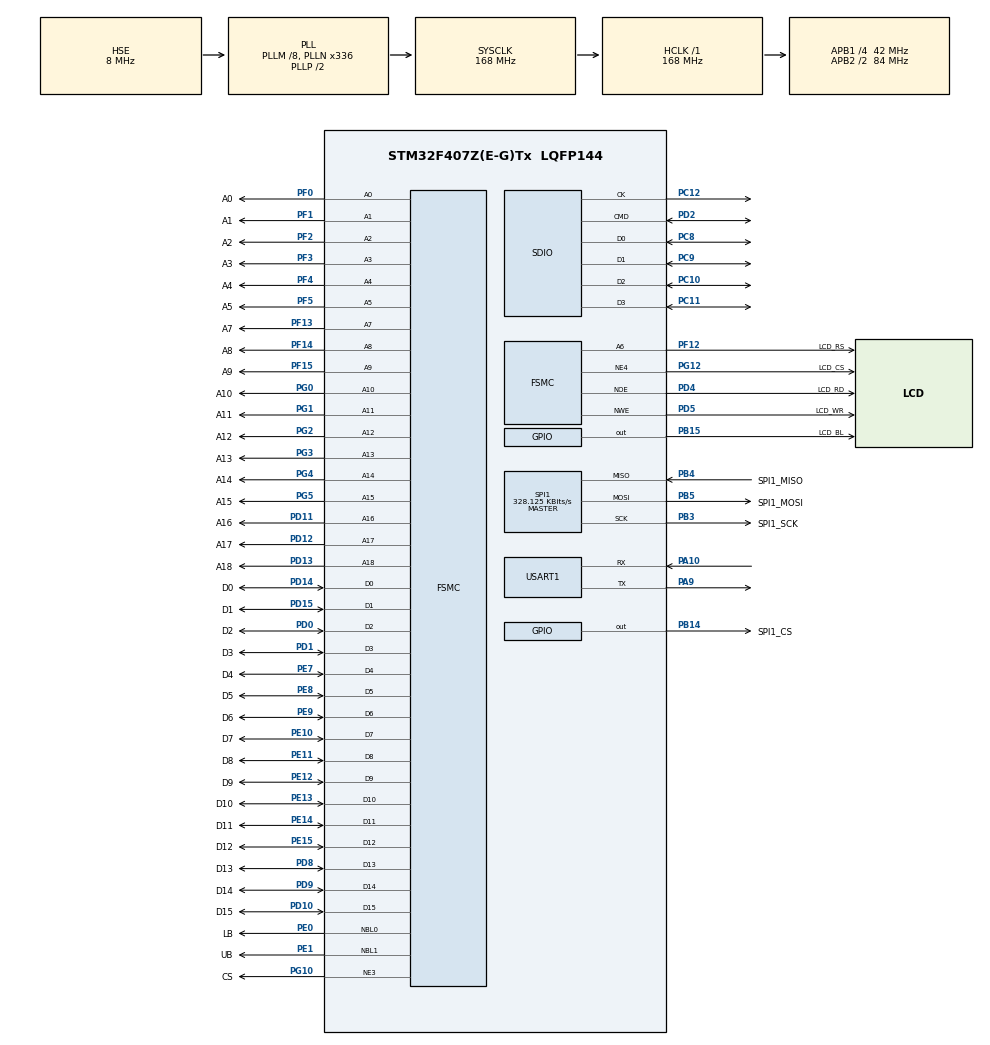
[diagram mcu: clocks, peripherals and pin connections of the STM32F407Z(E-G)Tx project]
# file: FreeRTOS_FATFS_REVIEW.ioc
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Dma.Request0=SDIO_RX
Dma.Request1=SDIO_TX
Dma.SDIO_RX.0.Direction=DMA_PERIPH_TO_MEMORY
Dma.SDIO_RX.0.FIFOMode=DMA_FIFOMODE_ENABLE
Dma.SDIO_RX.0.FIFOThreshold=DMA_FIFO_THRESHOLD_FULL
Dma.SDIO_RX.0.Instance=DMA2_Stream3
Dma.SDIO_RX.0.MemBurst=DMA_MBURST_INC4
Dma.SDIO_RX.0.MemDataAlignment=DMA_MDATAALIGN_WORD
Dma.SDIO_RX.0.MemInc=DMA_MINC_ENABLE
Dma.SDIO_RX.0.Mode=DMA_PFCTRL
Dma.SDIO_RX.0.PeriphBurst=DMA_PBURST_INC4
Dma.SDIO_RX.0.PeriphDataAlignment=DMA_PDATAALIGN_WORD
Dma.SDIO_RX.0.PeriphInc=DMA_PINC_DISABLE
Dma.SDIO_RX.0.Priority=DMA_PRIORITY_LOW
Dma.SDIO_TX.1.Direction=DMA_MEMORY_TO_PERIPH
Dma.SDIO_TX.1.FIFOMode=DMA_FIFOMODE_ENABLE
Dma.SDIO_TX.1.FIFOThreshold=DMA_FIFO_THRESHOLD_FULL
Dma.SDIO_TX.1.Instance=DMA2_Stream6
Dma.SDIO_TX.1.MemBurst=DMA_MBURST_SINGLE
Dma.SDIO_TX.1.MemDataAlignment=DMA_MDATAALIGN_BYTE
Dma.SDIO_TX.1.MemInc=DMA_MINC_ENABLE
Dma.SDIO_TX.1.Mode=DMA_PFCTRL
Dma.SDIO_TX.1.PeriphBurst=DMA_PBURST_INC4
Dma.SDIO_TX.1.PeriphDataAlignment=DMA_PDATAALIGN_WORD
Dma.SDIO_TX.1.PeriphInc=DMA_PINC_DISABLE
Dma.SDIO_TX.1.Priority=DMA_PRIORITY_LOW
FATFS._CODE_PAGE=936
FATFS._FS_EXFAT=1
FATFS._FS_NORTC=0
FATFS._USE_FORWARD=0
FATFS._USE_LABEL=1
FATFS._USE_LFN=3
FATFS._VOLUMES=2
FREERTOS.HEAP_NUMBER=5
FREERTOS.MEMORY_ALLOCATION=0
FREERTOS.Tasks01=defaultTask,0,1024,StartDefaultTask,Default,NULL,Dynamic,NULL,NULL
FREERTOS.configTOTAL_HEAP_SIZE=40960
FSMC.AddressSetupTime1=2
FSMC.BusTurnAroundDuration1=0
FSMC.DataSetupTime1=8
FSMC.DataSetupTime2=60
FSMC.ExtendedAddressSetupTime2=9
FSMC.ExtendedDataSetupTime2=9
FSMC.ExtendedMode2=FSMC_EXTENDED_MODE_ENABLE
FSMC.WriteOperation1=FSMC_WRITE_OPERATION_ENABLE
Mcu.Family=STM32F4
Mcu.Name=STM32F407Z(E-G)Tx
Mcu.Package=LQFP144
NVIC.DMA2_Stream3_IRQn=true\:6\:0\:true\:false\:true\:true\:false\:true
NVIC.DMA2_Stream6_IRQn=true\:6\:0\:true\:false\:true\:true\:false\:true
NVIC.PriorityGroup=NVIC_PRIORITYGROUP_4
NVIC.SDIO_IRQn=true\:5\:0\:true\:false\:true\:true\:true\:true
NVIC.TIM1_UP_TIM10_IRQn=true\:0\:0\:false\:false\:true\:false\:false\:true
NVIC.TimeBase=TIM1_UP_TIM10_IRQn
NVIC.TimeBaseIP=TIM1
PA10.Mode=Asynchronous
PA10.Signal=USART1_RX
PA13.Mode=Serial_Wire
PA13.Signal=SYS_JTMS-SWDIO
PA14.Mode=Serial_Wire
PA14.Signal=SYS_JTCK-SWCLK
PA9.Mode=Asynchronous
PA9.Signal=USART1_TX
PB14.GPIO_Label=SPI1_CS
PB14.GPIO_PuPd=GPIO_PULLUP
PB14.GPIO_Speed=GPIO_SPEED_FREQ_HIGH
PB14.PinState=GPIO_PIN_SET
PB14.Signal=GPIO_Output
PB15.GPIO_Label=LCD_BL
PB15.GPIO_PuPd=GPIO_PULLDOWN
PB15.GPIO_Speed=GPIO_SPEED_FREQ_HIGH
PB15.PinState=GPIO_PIN_SET
PB15.Signal=GPIO_Output
PB3.GPIO_Label=SPI1_SCK
PB3.GPIO_PuPd=GPIO_PULLUP
PB3.Mode=Full_Duplex_Master
PB3.Signal=SPI1_SCK
PB4.GPIO_Label=SPI1_MISO
PB4.GPIO_PuPd=GPIO_PULLUP
PB4.Mode=Full_Duplex_Master
PB4.Signal=SPI1_MISO
PB5.GPIO_Label=SPI1_MOSI
PB5.GPIO_PuPd=GPIO_PULLUP
PB5.Mode=Full_Duplex_Master
PB5.Signal=SPI1_MOSI
PC10.GPIO_PuPd=GPIO_PULLUP
PC10.Mode=SD_4_bits_Wide_bus
PC10.Signal=SDIO_D2
PC11.GPIO_PuPd=GPIO_PULLUP
PC11.Mode=SD_4_bits_Wide_bus
PC11.Signal=SDIO_D3
PC12.GPIO_PuPd=GPIO_PULLUP
PC12.Mode=SD_4_bits_Wide_bus
PC12.Signal=SDIO_CK
PC8.GPIO_PuPd=GPIO_PULLUP
PC8.Mode=SD_4_bits_Wide_bus
PC8.Signal=SDIO_D0
PC9.GPIO_PuPd=GPIO_PULLUP
PC9.Mode=SD_4_bits_Wide_bus
PC9.Signal=SDIO_D1
PD0.GPIO_Label=D2
PD0.GPIO_PuPd=GPIO_PULLUP
PD0.Signal=FSMC_D2_DA2
PD1.GPIO_Label=D3
PD1.GPIO_PuPd=GPIO_PULLUP
PD1.Signal=FSMC_D3_DA3
PD10.GPIO_Label=D15
PD10.GPIO_PuPd=GPIO_PULLUP
PD10.Signal=FSMC_D15_DA15
PD11.GPIO_Label=A16
PD11.GPIO_PuPd=GPIO_PULLUP
PD11.Signal=FSMC_A16_CLE
PD12.GPIO_Label=A17
PD12.GPIO_PuPd=GPIO_PULLUP
PD12.Signal=FSMC_A17_ALE
PD13.GPIO_Label=A18
PD13.GPIO_PuPd=GPIO_PULLUP
PD13.Signal=FSMC_A18
PD14.GPIO_Label=D0
PD14.GPIO_PuPd=GPIO_PULLUP
PD14.Signal=FSMC_D0_DA0
PD15.GPIO_Label=D1
PD15.GPIO_PuPd=GPIO_PULLUP
PD15.Signal=FSMC_D1_DA1
PD2.GPIO_PuPd=GPIO_PULLUP
PD2.Mode=SD_4_bits_Wide_bus
PD2.Signal=SDIO_CMD
PD4.GPIO_Label=LCD_RD
PD4.GPIO_PuPd=GPIO_PULLUP
PD4.Signal=FSMC_NOE
PD5.GPIO_Label=LCD_WR
PD5.GPIO_PuPd=GPIO_PULLUP
PD5.Signal=FSMC_NWE
PD8.GPIO_Label=D13
PD8.GPIO_PuPd=GPIO_PULLUP
PD8.Signal=FSMC_D13_DA13
PD9.GPIO_Label=D14
PD9.GPIO_PuPd=GPIO_PULLUP
PD9.Signal=FSMC_D14_DA14
PE0.GPIO_Label=LB
PE0.GPIO_PuPd=GPIO_PULLUP
PE0.Signal=FSMC_NBL0
PE1.GPIO_Label=UB
PE1.GPIO_PuPd=GPIO_PULLUP
PE1.Signal=FSMC_NBL1
PE10.GPIO_Label=D7
PE10.GPIO_PuPd=GPIO_PULLUP
PE10.Signal=FSMC_D7_DA7
PE11.GPIO_Label=D8
PE11.GPIO_PuPd=GPIO_PULLUP
PE11.Signal=FSMC_D8_DA8
PE12.GPIO_Label=D9
PE12.GPIO_PuPd=GPIO_PULLUP
PE12.Signal=FSMC_D9_DA9
PE13.GPIO_Label=D10
PE13.GPIO_PuPd=GPIO_PULLUP
PE13.Signal=FSMC_D10_DA10
PE14.GPIO_Label=D11
PE14.GPIO_PuPd=GPIO_PULLUP
PE14.Signal=FSMC_D11_DA11
PE15.GPIO_Label=D12
PE15.GPIO_PuPd=GPIO_PULLUP
PE15.Signal=FSMC_D12_DA12
PE7.GPIO_Label=D4
PE7.GPIO_PuPd=GPIO_PULLUP
PE7.Signal=FSMC_D4_DA4
PE8.GPIO_Label=D5
PE8.GPIO_PuPd=GPIO_PULLUP
PE8.Signal=FSMC_D5_DA5
PE9.GPIO_Label=D6
PE9.GPIO_PuPd=GPIO_PULLUP
PE9.Signal=FSMC_D6_DA6
PF0.GPIO_Label=A0
PF0.GPIO_PuPd=GPIO_PULLUP
PF0.Signal=FSMC_A0
PF1.GPIO_Label=A1
PF1.GPIO_PuPd=GPIO_PULLUP
PF1.Signal=FSMC_A1
PF12.GPIO_Label=LCD_RS
PF12.GPIO_PuPd=GPIO_PULLUP
PF12.Signal=FSMC_A6
PF13.GPIO_Label=A7
PF13.GPIO_PuPd=GPIO_PULLUP
PF13.Signal=FSMC_A7
PF14.GPIO_Label=A8
PF14.GPIO_PuPd=GPIO_PULLUP
PF14.Signal=FSMC_A8
PF15.GPIO_Label=A9
PF15.GPIO_PuPd=GPIO_PULLUP
PF15.Signal=FSMC_A9
PF2.GPIO_Label=A2
PF2.GPIO_PuPd=GPIO_PULLUP
PF2.Signal=FSMC_A2
PF3.GPIO_Label=A3
PF3.GPIO_PuPd=GPIO_PULLUP
PF3.Signal=FSMC_A3
PF4.GPIO_Label=A4
PF4.GPIO_PuPd=GPIO_PULLUP
PF4.Signal=FSMC_A4
PF5.GPIO_Label=A5
PF5.GPIO_PuPd=GPIO_PULLUP
PF5.Signal=FSMC_A5
PG0.GPIO_Label=A10
PG0.GPIO_PuPd=GPIO_PULLUP
PG0.Signal=FSMC_A10
PG1.GPIO_Label=A11
PG1.GPIO_PuPd=GPIO_PULLUP
PG1.Signal=FSMC_A11
PG10.GPIO_Label=CS
PG10.GPIO_PuPd=GPIO_PULLUP
PG10.Mode=NorPsramChipSelect3_1
PG10.Signal=FSMC_NE3
PG12.GPIO_Label=LCD_CS
PG12.GPIO_PuPd=GPIO_PULLUP
PG12.Mode=NorPsramChipSelect4_2
PG12.Signal=FSMC_NE4
PG2.GPIO_Label=A12
PG2.GPIO_PuPd=GPIO_PULLUP
PG2.Signal=FSMC_A12
PG3.GPIO_Label=A13
PG3.GPIO_PuPd=GPIO_PULLUP
PG3.Signal=FSMC_A13
PG4.GPIO_Label=A14
PG4.GPIO_PuPd=GPIO_PULLUP
PG4.Signal=FSMC_A14
PG5.GPIO_Label=A15
PG5.GPIO_PuPd=GPIO_PULLUP
PG5.Signal=FSMC_A15
PH0-OSC_IN.Mode=HSE-External-Oscillator
PH0-OSC_IN.Signal=RCC_OSC_IN
PH1-OSC_OUT.Mode=HSE-External-Oscillator
PH1-OSC_OUT.Signal=RCC_OSC_OUT
ProjectManager.HeapSize=0x200
ProjectManager.StackSize=0x400
ProjectManager.TargetToolchain=MDK-ARM V5
RCC.48MHZClocksFreq_Value=48000000
RCC.AHBFreq_Value=168000000
RCC.APB1CLKDivider=RCC_HCLK_DIV4
RCC.APB1Freq_Value=42000000
RCC.APB1TimFreq_Value=84000000
RCC.APB2CLKDivider=RCC_HCLK_DIV2
RCC.APB2Freq_Value=84000000
RCC.APB2TimFreq_Value=168000000
RCC.CortexFreq_Value=168000000
RCC.HCLKFreq_Value=168000000
RCC.HSE_VALUE=8000000
RCC.HSI_VALUE=16000000
RCC.LSE_VALUE=32768
RCC.PLLM=8
RCC.PLLN=336
RCC.PLLQ=7
RCC.PLLSourceVirtual=RCC_PLLSOURCE_HSE
RCC.SYSCLKFreq_VALUE=168000000
RCC.SYSCLKSource=RCC_SYSCLKSOURCE_PLLCLK
RCC.VCOOutputFreq_Value=336000000
SDIO.ClockDiv=0
SH.FSMC_A0.0=FSMC_A0,19b-a1
SH.FSMC_A1.0=FSMC_A1,19b-a1
SH.FSMC_A10.0=FSMC_A10,19b-a1
SH.FSMC_A11.0=FSMC_A11,19b-a1
SH.FSMC_A12.0=FSMC_A12,19b-a1
SH.FSMC_A13.0=FSMC_A13,19b-a1
SH.FSMC_A14.0=FSMC_A14,19b-a1
SH.FSMC_A15.0=FSMC_A15,19b-a1
SH.FSMC_A16_CLE.0=FSMC_A16,19b-a1
SH.FSMC_A17_ALE.0=FSMC_A17,19b-a1
SH.FSMC_A18.0=FSMC_A18,19b-a1
SH.FSMC_A2.0=FSMC_A2,19b-a1
SH.FSMC_A3.0=FSMC_A3,19b-a1
SH.FSMC_A4.0=FSMC_A4,19b-a1
SH.FSMC_A5.0=FSMC_A5,19b-a1
SH.FSMC_A6.0=FSMC_A6,A6_2
SH.FSMC_A6.1=FSMC_A6,19b-a1
SH.FSMC_A7.0=FSMC_A7,19b-a1
SH.FSMC_A8.0=FSMC_A8,19b-a1
SH.FSMC_A9.0=FSMC_A9,19b-a1
SH.FSMC_D0_DA0.0=FSMC_D0,16b-d2
SH.FSMC_D0_DA0.1=FSMC_D0,16b-d1
SH.FSMC_D10_DA10.0=FSMC_D10,16b-d2
SH.FSMC_D10_DA10.1=FSMC_D10,16b-d1
SH.FSMC_D11_DA11.0=FSMC_D11,16b-d2
SH.FSMC_D11_DA11.1=FSMC_D11,16b-d1
SH.FSMC_D12_DA12.0=FSMC_D12,16b-d2
SH.FSMC_D12_DA12.1=FSMC_D12,16b-d1
SH.FSMC_D13_DA13.0=FSMC_D13,16b-d2
SH.FSMC_D13_DA13.1=FSMC_D13,16b-d1
SH.FSMC_D14_DA14.0=FSMC_D14,16b-d2
SH.FSMC_D14_DA14.1=FSMC_D14,16b-d1
SH.FSMC_D15_DA15.0=FSMC_D15,16b-d2
SH.FSMC_D15_DA15.1=FSMC_D15,16b-d1
SH.FSMC_D1_DA1.0=FSMC_D1,16b-d2
SH.FSMC_D1_DA1.1=FSMC_D1,16b-d1
SH.FSMC_D2_DA2.0=FSMC_D2,16b-d2
SH.FSMC_D2_DA2.1=FSMC_D2,16b-d1
SH.FSMC_D3_DA3.0=FSMC_D3,16b-d2
SH.FSMC_D3_DA3.1=FSMC_D3,16b-d1
SH.FSMC_D4_DA4.0=FSMC_D4,16b-d2
SH.FSMC_D4_DA4.1=FSMC_D4,16b-d1
SH.FSMC_D5_DA5.0=FSMC_D5,16b-d2
SH.FSMC_D5_DA5.1=FSMC_D5,16b-d1
SH.FSMC_D6_DA6.0=FSMC_D6,16b-d2
SH.FSMC_D6_DA6.1=FSMC_D6,16b-d1
SH.FSMC_D7_DA7.0=FSMC_D7,16b-d2
SH.FSMC_D7_DA7.1=FSMC_D7,16b-d1
SH.FSMC_D8_DA8.0=FSMC_D8,16b-d2
SH.FSMC_D8_DA8.1=FSMC_D8,16b-d1
SH.FSMC_D9_DA9.0=FSMC_D9,16b-d2
SH.FSMC_D9_DA9.1=FSMC_D9,16b-d1
SH.FSMC_NBL0.0=FSMC_NBL0,2ByteEnable1
SH.FSMC_NBL1.0=FSMC_NBL1,2ByteEnable1
SH.FSMC_NOE.0=FSMC_NOE,Lcd2
SH.FSMC_NOE.1=FSMC_NOE,Sram1
SH.FSMC_NWE.0=FSMC_NWE,Lcd2
SH.FSMC_NWE.1=FSMC_NWE,Sram1
SPI1.BaudRatePrescaler=SPI_BAUDRATEPRESCALER_256
SPI1.CLKPhase=SPI_PHASE_2EDGE
SPI1.CLKPolarity=SPI_POLARITY_HIGH
SPI1.CalculateBaudRate=328.125 KBits/s
SPI1.Direction=SPI_DIRECTION_2LINES
SPI1.Mode=SPI_MODE_MASTER
SPI1.VirtualType=VM_MASTER
USART1.VirtualMode=VM_ASYNC
VP_FATFS_VS_Generic.Mode=User_defined
VP_FREERTOS_VS_CMSIS_V1.Mode=CMSIS_V1
VP_SYS_VS_tim1.Mode=TIM1
board=custom

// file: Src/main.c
/* USER CODE BEGIN Header */
/**
  ******************************************************************************
  * @file           : main.c
  * @brief          : Main program body
  ******************************************************************************
  * @attention
  *
  * <h2><center>&copy; Copyright (c) 2024 STMicroelectronics.
  * All rights reserved.</center></h2>
  *
  * This software component is licensed by ST under BSD 3-Clause license,
  * the "License"; You may not use this file except in compliance with the
  * License. You may obtain a copy of the License at:
  *                        opensource.org/licenses/BSD-3-Clause
  *
  ******************************************************************************
  */
/* USER CODE END Header */

#include "main.h"
#include "cmsis_os.h"
#include "dma.h"
#include "fatfs.h"
#include "sdio.h"
#include "spi.h"
#include "usart.h"
#include "gpio.h"
#include "fsmc.h"

/* USER CODE BEGIN Includes */
#include "lcd.h"

#include "FreeRTOS.h"
#include "task.h"
#include "sram.h"
#include "mymalloc.h"
/* USER CODE END Includes */

/* USER CODE BEGIN PV */
uint8_t lcd_id[12];
uint16_t colors[12] = {WHITE, BLACK, BLUE, RED, MAGENTA, GREEN, CYAN, YELLOW, BRRED, GRAY, LGRAY, BROWN};uint8_t color_index = 0;
uint8_t cur_brightness;
uint8_t* str[23];

// 定义堆区域数�?
HeapRegion_t xHeapRegions[] = {
    { ( uint8_t * ) 0x68000000, 0xa000 },  // 定义�?0x68000000�?始的40K字节内存�?
    { NULL, 0 }                            // 终止数组
};

void configureHeapRegions(void)
{
    vPortDefineHeapRegions(xHeapRegions);  // 定义堆区�?
}

uint8_t paddr[20] = {0};                  /* 存放内存EXSRAM使用�? */
uint16_t memused = 0;                     /* 内存使用百分�? */
/* USER CODE END PV */

void SystemClock_Config(void);
void MX_FREERTOS_Init(void);

int main(void)
{

  /* MCU Configuration--------------------------------------------------------*/

  /* Reset of all peripherals, Initializes the Flash interface and the Systick. */
  HAL_Init();

  /* Configure the system clock */
  SystemClock_Config();

  /* Initialize all configured peripherals */
  MX_GPIO_Init();
  MX_DMA_Init();
  MX_FSMC_Init();
  MX_USART1_UART_Init();
  MX_SPI1_Init();
  MX_SDIO_SD_Init();
  /* USER CODE BEGIN 2 */
	// 调用配置堆区域的函数
	configureHeapRegions();  //FreeRTOS定义heap5的堆区地�?范围

	sram_init();                        /* 外扩SRAM初始�? */

	//my_mem_init(SRAMIN);                /* 初始化内部SRAM内存�? */
	my_mem_init(SRAMEX);                /* 初始化外部SRAM内存�? */
	my_mem_init(SRAMCCM);               /* 初始化内部CCM内存�? */

	//因为将外扩SRAM的头�?40KB给FreeRTOS使用，所以要将这部分在内存管理表中对应的表项赋�?�为非零，表示已经被占用了，防止影响FreeRTOS的堆�?
	my_mem_occupy(SRAMEX, 40*1024);

	memused = my_mem_perused(SRAMEX);
	sprintf((char *)paddr, "%d.%01d%%", memused / 10, memused % 10);
	printf("SRAMEX   USED: %s\n", (char *)paddr);
  /* USER CODE END 2 */

  /* Call init function for freertos objects (in freertos.c) */
  MX_FREERTOS_Init();

  /* Start scheduler */
  osKernelStart();

  /* We should never get here as control is now taken by the scheduler */

  /* Infinite loop */
  while (1)
  {

  }
}

void SystemClock_Config(void)
{
  RCC_OscInitTypeDef RCC_OscInitStruct = {0};
  RCC_ClkInitTypeDef RCC_ClkInitStruct = {0};

  /** Configure the main internal regulator output voltage
  */
  __HAL_RCC_PWR_CLK_ENABLE();
  __HAL_PWR_VOLTAGESCALING_CONFIG(PWR_REGULATOR_VOLTAGE_SCALE1);
  /** Initializes the CPU, AHB and APB busses clocks
  */
  RCC_OscInitStruct.OscillatorType = RCC_OSCILLATORTYPE_HSE;
  RCC_OscInitStruct.HSEState = RCC_HSE_ON;
  RCC_OscInitStruct.PLL.PLLState = RCC_PLL_ON;
  RCC_OscInitStruct.PLL.PLLSource = RCC_PLLSOURCE_HSE;
  RCC_OscInitStruct.PLL.PLLM = 8;
  RCC_OscInitStruct.PLL.PLLN = 336;
  RCC_OscInitStruct.PLL.PLLP = RCC_PLLP_DIV2;
  RCC_OscInitStruct.PLL.PLLQ = 7;
  if (HAL_RCC_OscConfig(&RCC_OscInitStruct) != HAL_OK)
  {
    Error_Handler();
  }
  /** Initializes the CPU, AHB and APB busses clocks
  */
  RCC_ClkInitStruct.ClockType = RCC_CLOCKTYPE_HCLK|RCC_CLOCKTYPE_SYSCLK
                              |RCC_CLOCKTYPE_PCLK1|RCC_CLOCKTYPE_PCLK2;
  RCC_ClkInitStruct.SYSCLKSource = RCC_SYSCLKSOURCE_PLLCLK;
  RCC_ClkInitStruct.AHBCLKDivider = RCC_SYSCLK_DIV1;
  RCC_ClkInitStruct.APB1CLKDivider = RCC_HCLK_DIV4;
  RCC_ClkInitStruct.APB2CLKDivider = RCC_HCLK_DIV2;

  if (HAL_RCC_ClockConfig(&RCC_ClkInitStruct, FLASH_LATENCY_5) != HAL_OK)
  {
    Error_Handler();
  }
}

void HAL_TIM_PeriodElapsedCallback(TIM_HandleTypeDef *htim)
{
  if (htim->Instance == TIM1) {
    HAL_IncTick();
  }
}

void Error_Handler(void)
{
}

/************************ (C) COPYRIGHT STMicroelectronics *****END OF FILE****/

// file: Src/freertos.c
/* USER CODE BEGIN Header */
/**
  ******************************************************************************
  * File Name          : freertos.c
  * Description        : Code for freertos applications
  ******************************************************************************
  * @attention
  *
  * <h2><center>&copy; Copyright (c) 2024 STMicroelectronics.
  * All rights reserved.</center></h2>
  *
  * This software component is licensed by ST under Ultimate Liberty license
  * SLA0044, the "License"; You may not use this file except in compliance with
  * the License. You may obtain a copy of the License at:
  *                             www.st.com/SLA0044
  *
  ******************************************************************************
  */
/* USER CODE END Header */

#include "FreeRTOS.h"
#include "task.h"
#include "main.h"
#include "cmsis_os.h"

/* USER CODE BEGIN Includes */
#include "delay.h"
#include "lcd.h"
#include "stdio.h"  //sprintf

#include "norflash.h"

#include "diskio.h"
#include "fatfs.h"  //SDFatFS、USERFatFS、format_flash
/* USER CODE END Includes */

/* USER CODE BEGIN Variables */
//lcd
extern uint8_t lcd_id[12]; //main.c
extern uint16_t colors[];  //main.c
extern uint8_t color_index;  //main.c

const uint8_t g_text_buf[] = {"STM32 SPI TEST!"}; /* 要写到FLASH的字符串数组 */
#define TEXT_SIZE sizeof(g_text_buf) /* TEXT字符串长�? */
uint8_t datatemp[TEXT_SIZE];

unsigned long recv = 0;

HAL_SD_CardInfoTypeDef  g_sd_card_info_handle;   /* SD卡信息结构体 */
/* USER CODE END Variables */
osThreadId defaultTaskHandle;

/* USER CODE BEGIN FunctionPrototypes */
void init_disks(){
	while(disk_initialize(0)){  //返回0，表示SD初始化成�?
		lcd_show_string(30, 140, 200, 16, 16, "SD Card Error!", RED);
		delay_ms(500);
		lcd_show_string(30, 140, 200, 16, 16, "Please Check! ", RED);
		delay_ms(500);
	}
	lcd_show_string(30, 140, 200, 16, 16, "SD Card init OK! ", BLUE);
	disk_ioctl(0, 1, (void*)&recv);
	printf("SD sector count: %d\n", (int)recv);
	lcd_show_string(30, 172, 200, 16, 16, "SD sector count:", BLUE);
	lcd_show_num(30 + 10 * 14, 172, (int)recv , 8, 16, BLUE);

	while(disk_initialize(1)){  //返回0，表示Norflash初始化成�?
		lcd_show_string(30, 204, 200, 16, 16, "Noflash Error!", RED);
		delay_ms(500);
		lcd_show_string(30, 204, 200, 16, 16, "Please Check! ", RED);
		delay_ms(500);
	}
	lcd_show_string(30, 236, 200, 16, 16, "Noflash init OK! ", BLUE);
	disk_ioctl(1, 1, (void*)&recv);
	printf("noflash sector count: %d\n", (int)recv);
	lcd_show_string(30, 268, 200, 16, 16, "Noflash sector count:", BLUE);
	lcd_show_num(30 + 10 * 14, 268, (int)recv , 8, 16, BLUE);
}

/* USER CODE END FunctionPrototypes */

void StartDefaultTask(void const * argument);

extern void MX_FATFS_Init(void);
void MX_FREERTOS_Init(void); /* (MISRA C 2004 rule 8.1) */

void MX_FREERTOS_Init(void) {

  /* Create the thread(s) */
  /* definition and creation of defaultTask */
  osThreadDef(defaultTask, StartDefaultTask, osPriorityNormal, 0, 1024);
  defaultTaskHandle = osThreadCreate(osThread(defaultTask), NULL);

}

void StartDefaultTask(void const * argument)
{

  /* init code for FATFS */
  MX_FATFS_Init();

  /* USER CODE BEGIN StartDefaultTask */
	taskENTER_CRITICAL();           /* 进入临界�? */
	delay_init(168);                    // 延时初始�?
	lcd_init();                             // 初始化LCD

  sprintf((char *)lcd_id, "LCD ID:%04X", lcddev.id);  // 将LCD ID打印到lcd_id数组
	lcd_clear(colors[color_index]);  //清屏

	lcd_show_string(10, 10, 220, 32, 32, "STM32", RED);
	lcd_show_string(10, 47, 220, 24, 24, "Mem Manage", RED);
	lcd_show_string(10, 76, 220, 16, 16, "ATOM@ALIENTEK", RED);

	lcd_show_string(30, 108, 200, 16, 16, "FreeRTOS with FATFS Test!", RED);

	norflash_init();  //初始化norflash
	uint16_t id = norflash_read_id();
	printf("norflash id is %d\n", id);
	sprintf((char *)datatemp, "%s", (char *)g_text_buf);
	while ((id == 0) || (id == 0xFFFF)) /* �?测不到FLASH芯片 */ {
		printf("FLASH Check Failed!\n");
		HAL_Delay(500);
		printf("Please Check! \n");
		HAL_Delay(500);
	}

	//初始化SD卡和norflash
	//init_disks();

	/*
	// 挂载文件系统
	if (f_mount(&USERFatFS, "1:", 1) == FR_OK) {
		printf("Norflash mount succeed!\n");
	} else {
		printf("Norflash mount failed!\n");
	}
	uint8_t res = 0;
	res = f_mount(&SDFatFS, "0:", 1);        // 挂载SD
	printf("f_mount sd res:%u\n", res);
	if (res == FR_OK) {
		printf("SD mount succeed!\n");
	} else {
		printf("SD mount failed!\n");
	}
	*/

	printf("fuck\n");
	//format_flash();
	//挂载SD卡和norflash
	//fmout_disks();

	taskEXIT_CRITICAL();            /* �?出临界区 */
  /* Infinite loop */
  for(;;)
  {
    osDelay(100);
  }
  /* USER CODE END StartDefaultTask */
}

/************************ (C) COPYRIGHT STMicroelectronics *****END OF FILE****/
